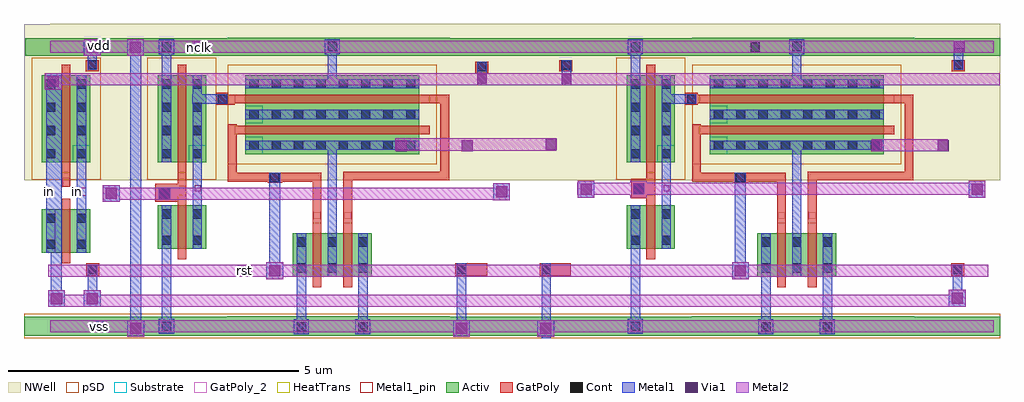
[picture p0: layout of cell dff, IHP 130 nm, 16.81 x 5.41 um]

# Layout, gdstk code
from math import pi, radians
import gdstk
lib = gdstk.Library(unit=1e-6, precision=5e-09)
def R(c, l, rs):  # rectangles x0, y0, x1, y1
    for r in rs: c.add(gdstk.rectangle(r[:2], r[2:], *l))
def A(c, l, x, y, w, h, nx, ny, dx, dy):  # array of equal rectangles
    R(c, l, [(x+i*dx, y+j*dy, x+i*dx+w, y+j*dy+h) for i in range(nx) for j in range(ny)])
Activ = (1, 0)
GatPoly = (5, 0)
GatPoly_2 = (5, 2)
Cont = (6, 0)
Metal1 = (8, 0)
Metal1_pin = (8, 2)
Metal2 = (10, 0)
pSD = (14, 0)
Via1 = (19, 0)
NWell = (31, 0)
Substrate = (40, 0)
HeatTrans = (51, 0)

nmos_5_2 = lib.new_cell('nmos$5$2')
R(nmos_5_2, Activ, [(0,0,0.3,0.3), (0,0,0.83,0.75), (0.53,0,0.83,0.3)])
R(nmos_5_2, GatPoly, [(0.34,-0.18,0.49,0.93)])
R(nmos_5_2, GatPoly_2, [(0.34,-0.18,0.49,0.93)])
R(nmos_5_2, Cont, [(0.07,0.07,0.23,0.23), (0.6,0.07,0.76,0.23), (0.07,0.52,0.23,0.68), (0.6,0.52,0.76,0.68)])
R(nmos_5_2, Metal1, [(0.07,0,0.23,0.75), (0.6,0,0.76,0.75)])
R(nmos_5_2, Metal1_pin, [(0.07,0,0.23,0.75), (0.6,0,0.76,0.75)])
R(nmos_5_2, HeatTrans, [(0.34,-0.18,0.49,0.93)])
nmos_5_2.add(gdstk.Label('nmos', (0.415,0.375), layer=63, texttype=0))
nmos_5_2.add(gdstk.Label('nmos', (0.415,0.375), layer=51, texttype=0))

pmos_5_1 = lib.new_cell('pmos$5$1')
R(pmos_5_1, Activ, [(0,0,0.3,0.3), (0,0,0.83,3), (0.53,0,0.83,0.3)])
R(pmos_5_1, GatPoly, [(0.34,-0.18,0.49,3.18), (0.34,-0.18,0.49,3.18)])
A(pmos_5_1, Cont, 0.07, 0.07, 0.16, 0.16, 1, 7, 0, 0.385)
A(pmos_5_1, Cont, 0.6, 0.07, 0.16, 0.16, 1, 7, 0, 0.385)
R(pmos_5_1, Cont, [(0.07,2.77,0.23,2.93), (0.6,2.77,0.76,2.93)])
R(pmos_5_1, Metal1, [(0.07,0,0.23,3), (0.07,0,0.23,3), (0.6,0,0.76,3), (0.6,0,0.76,3)])
R(pmos_5_1, pSD, [(-0.18,-0.3,1.01,3.3)])
R(pmos_5_1, NWell, [(-0.31,-0.31,1.14,3.31)])
R(pmos_5_1, Substrate, [(0.53,0,0.83,0.3)])
R(pmos_5_1, HeatTrans, [(0.34,-0.18,0.49,3.18)])
pmos_5_1.add(gdstk.Label('pmos', (0.415,1.5), layer=63, texttype=0))
pmos_5_1.add(gdstk.Label('pmos', (0.415,1.5), layer=51, texttype=0))

norgate_1 = lib.new_cell('norgate$1')
R(norgate_1, Activ, [(-1.48,-2.5,2.355,-2.17), (-1.47,2.325,2.355,2.625)])
R(norgate_1, GatPoly, [(-0.01,-0.56,0.14,0.15), (0.52,-0.56,0.67,0.17), (-1.47,0.15,0.14,0.3), (0.52,0.17,2.19,0.32), (2.19,0.17,2.34,1.645), (-1.47,0.3,-1.32,1.135), (-1.47,0.965,-1.35,1.135), (2.01,1.495,2.19,1.645)])
R(norgate_1, GatPoly_2, [(0.005,-0.49,0.13,-0.38), (0.535,-0.49,0.66,-0.38)])
R(norgate_1, Cont, [(-0.28,-2.43,-0.12,-2.27), (-0.28,-2.43,-0.12,-2.27), (0.78,-2.43,0.94,-2.27), (0.78,-2.43,0.94,-2.27), (0.255,2.395,0.415,2.555)])
R(norgate_1, Metal1, [(-0.335,-2.48,-0.075,-2.22), (0.725,-2.48,0.985,-2.22), (-0.28,-2.43,-0.12,-0.74), (0.78,-2.43,0.94,-0.74), (0.25,-0.74,0.41,0.695), (0.25,1.915,0.41,2.345), (0.2,2.345,0.46,2.605)])
R(norgate_1, Metal1_pin, [(-0.25,-2.39,-0.17,-2.3), (0.81,-2.39,0.89,-2.3), (0.255,2.395,0.415,2.555)])
R(norgate_1, pSD, [(-1.48,-2.54,2.355,-2.125)])
R(norgate_1, NWell, [(-1.47,0.315,2.355,2.865), (-1.47,2.295,2.355,2.865)])
norgate_1.add(gdstk.Reference(nmos_5_2, (1.01,-0.74), rotation=pi))
norgate_1.add(gdstk.Reference(nmos_5_2, (-0.35,-1.49)))
norgate_1.add(gdstk.Reference(pmos_5_1, (-1.17,1.985), rotation=3*pi/2))
norgate_1.add(gdstk.Reference(pmos_5_1, (-1.17,1.455), rotation=3*pi/2))
norgate_1.add(gdstk.Label('vdd', (0.325,2.5), layer=8, texttype=2))
norgate_1.add(gdstk.Label('vss', (-0.22,-2.335), layer=8, texttype=2))
norgate_1.add(gdstk.Label('vss', (0.84,-2.335), layer=8, texttype=2))
norgate_1.add(gdstk.Label('b', (0.07,-0.44), layer=5, texttype=2))
norgate_1.add(gdstk.Label('a', (0.6,-0.44), layer=5, texttype=2))

nmos_1 = lib.new_cell('nmos$1')
R(nmos_1, Activ, [(0,0,0.3,0.3), (0,0,0.83,0.75), (0.53,0,0.83,0.3)])
R(nmos_1, GatPoly, [(0.34,-0.18,0.49,0.93)])
R(nmos_1, GatPoly_2, [(0.34,-0.18,0.49,0.93)])
R(nmos_1, Cont, [(0.07,0.07,0.23,0.23), (0.6,0.07,0.76,0.23), (0.07,0.52,0.23,0.68), (0.6,0.52,0.76,0.68)])
R(nmos_1, Metal1, [(0.07,0,0.23,0.75), (0.6,0,0.76,0.75)])
R(nmos_1, Metal1_pin, [(0.07,0,0.23,0.75), (0.6,0,0.76,0.75)])
R(nmos_1, HeatTrans, [(0.34,-0.18,0.49,0.93)])
nmos_1.add(gdstk.Label('nmos', (0.415,0.375), layer=63, texttype=0))
nmos_1.add(gdstk.Label('nmos', (0.415,0.375), layer=51, texttype=0))

pmos_2 = lib.new_cell('pmos$2')
R(pmos_2, Activ, [(0,0,0.3,0.3), (0,0,0.83,1.5), (0.53,0,0.83,0.3)])
R(pmos_2, GatPoly, [(0.34,-0.18,0.49,1.68), (0.34,-0.18,0.49,1.68)])
A(pmos_2, Cont, 0.07, 0.07, 0.16, 0.16, 1, 4, 0, 0.4)
A(pmos_2, Cont, 0.6, 0.07, 0.16, 0.16, 1, 4, 0, 0.4)
R(pmos_2, Metal1, [(0.07,0,0.23,1.5), (0.07,0,0.23,1.5), (0.6,0,0.76,1.5), (0.6,0,0.76,1.5)])
R(pmos_2, pSD, [(-0.18,-0.3,1.01,1.8)])
R(pmos_2, NWell, [(-0.31,-0.31,1.14,1.81)])
R(pmos_2, Substrate, [(0.53,0,0.83,0.3)])
R(pmos_2, HeatTrans, [(0.34,-0.18,0.49,1.68)])
pmos_2.add(gdstk.Label('pmos', (0.415,0.75), layer=63, texttype=0))
pmos_2.add(gdstk.Label('pmos', (0.415,0.75), layer=51, texttype=0))

inverter_1 = lib.new_cell('inverter$1')
R(inverter_1, Activ, [(-0.925,-2.62,0.525,-2.29), (-0.925,2.205,0.525,2.505)])
R(inverter_1, GatPoly, [(-0.275,-0.195,-0.125,0.185)])
R(inverter_1, GatPoly_2, [(-0.25,-0.14,-0.155,-0.04)])
R(inverter_1, Cont, [(-0.545,-2.535,-0.385,-2.375), (-0.545,-2.535,-0.385,-2.375), (-0.545,2.275,-0.385,2.435)])
R(inverter_1, Metal1, [(-0.595,-2.585,-0.335,-2.325), (-0.545,-2.325,-0.385,-0.845), (-0.015,-0.375,0.145,0.365), (-0.545,1.865,-0.385,2.275), (-0.595,2.225,-0.335,2.485)])
R(inverter_1, Metal1_pin, [(0.02,-0.135,0.12,-0.03)])
R(inverter_1, pSD, [(-0.925,-2.66,0.525,-2.245)])
R(inverter_1, NWell, [(-0.925,2.175,0.525,2.745)])
inverter_1.add(gdstk.Reference(nmos_1, (-0.615,-1.125)))
inverter_1.add(gdstk.Reference(pmos_2, (-0.615,0.365)))
inverter_1.add(gdstk.Label('vss', (-0.475,-2.43), layer=8, texttype=2))
inverter_1.add(gdstk.Label('vdd', (-0.465,2.355), layer=8, texttype=2))
inverter_1.add(gdstk.Label('out', (0.06,-0.09), layer=8, texttype=2))
inverter_1.add(gdstk.Label('in', (-0.205,-0.09), layer=5, texttype=2))

nmos_5 = lib.new_cell('nmos$5')
R(nmos_5, Activ, [(0,0,0.3,0.3), (0,0,0.83,0.75), (0.53,0,0.83,0.3)])
R(nmos_5, GatPoly, [(0.34,-0.18,0.49,0.93)])
R(nmos_5, GatPoly_2, [(0.34,-0.18,0.49,0.93)])
R(nmos_5, Cont, [(0.07,0.07,0.23,0.23), (0.6,0.07,0.76,0.23), (0.07,0.52,0.23,0.68), (0.6,0.52,0.76,0.68)])
R(nmos_5, Metal1, [(0.07,0,0.23,0.75), (0.6,0,0.76,0.75)])
R(nmos_5, Metal1_pin, [(0.07,0,0.23,0.75), (0.6,0,0.76,0.75)])
R(nmos_5, HeatTrans, [(0.34,-0.18,0.49,0.93)])
nmos_5.add(gdstk.Label('nmos', (0.415,0.375), layer=63, texttype=0))
nmos_5.add(gdstk.Label('nmos', (0.415,0.375), layer=51, texttype=0))

pmos_3 = lib.new_cell('pmos$3')
R(pmos_3, Activ, [(0,0,0.3,0.3), (0,0,0.83,1.5), (0.53,0,0.83,0.3)])
R(pmos_3, GatPoly, [(0.34,-0.18,0.49,1.68), (0.34,-0.18,0.49,1.68)])
A(pmos_3, Cont, 0.07, 0.07, 0.16, 0.16, 1, 4, 0, 0.4)
A(pmos_3, Cont, 0.6, 0.07, 0.16, 0.16, 1, 4, 0, 0.4)
R(pmos_3, Metal1, [(0.07,0,0.23,1.5), (0.07,0,0.23,1.5), (0.6,0,0.76,1.5), (0.6,0,0.76,1.5)])
R(pmos_3, pSD, [(-0.18,-0.3,1.01,1.8)])
R(pmos_3, NWell, [(-0.31,-0.31,1.14,1.81)])
R(pmos_3, Substrate, [(0.53,0,0.83,0.3)])
R(pmos_3, HeatTrans, [(0.34,-0.18,0.49,1.68)])
pmos_3.add(gdstk.Label('pmos', (0.415,0.75), layer=63, texttype=0))
pmos_3.add(gdstk.Label('pmos', (0.415,0.75), layer=51, texttype=0))

nmos_5_3 = lib.new_cell('nmos$5$3')
R(nmos_5_3, Activ, [(0,0,0.3,0.3), (0,0,0.83,0.75), (0.53,0,0.83,0.3)])
R(nmos_5_3, GatPoly, [(0.34,-0.18,0.49,0.93)])
R(nmos_5_3, GatPoly_2, [(0.34,-0.18,0.49,0.93)])
R(nmos_5_3, Cont, [(0.07,0.07,0.23,0.23), (0.6,0.07,0.76,0.23), (0.07,0.52,0.23,0.68), (0.6,0.52,0.76,0.68)])
R(nmos_5_3, Metal1, [(0.07,0,0.23,0.75), (0.6,0,0.76,0.75)])
R(nmos_5_3, Metal1_pin, [(0.07,0,0.23,0.75), (0.6,0,0.76,0.75)])
R(nmos_5_3, HeatTrans, [(0.34,-0.18,0.49,0.93)])
nmos_5_3.add(gdstk.Label('nmos', (0.415,0.375), layer=63, texttype=0))
nmos_5_3.add(gdstk.Label('nmos', (0.415,0.375), layer=51, texttype=0))

pmos_4 = lib.new_cell('pmos$4')
R(pmos_4, Activ, [(0,0,0.3,0.3), (0,0,0.83,1.5), (0.53,0,0.83,0.3)])
R(pmos_4, GatPoly, [(0.34,-0.18,0.49,1.68), (0.34,-0.18,0.49,1.68)])
A(pmos_4, Cont, 0.07, 0.07, 0.16, 0.16, 1, 4, 0, 0.4)
A(pmos_4, Cont, 0.6, 0.07, 0.16, 0.16, 1, 4, 0, 0.4)
R(pmos_4, Metal1, [(0.07,0,0.23,1.5), (0.07,0,0.23,1.5), (0.6,0,0.76,1.5), (0.6,0,0.76,1.5)])
R(pmos_4, pSD, [(-0.18,-0.3,1.01,1.8)])
R(pmos_4, NWell, [(-0.31,-0.31,1.14,1.81)])
R(pmos_4, Substrate, [(0.53,0,0.83,0.3)])
R(pmos_4, HeatTrans, [(0.34,-0.18,0.49,1.68)])
pmos_4.add(gdstk.Label('pmos', (0.415,0.75), layer=63, texttype=0))
pmos_4.add(gdstk.Label('pmos', (0.415,0.75), layer=51, texttype=0))

nmos_5_4 = lib.new_cell('nmos$5$4')
R(nmos_5_4, Activ, [(0,0,0.3,0.3), (0,0,0.83,0.75), (0.53,0,0.83,0.3)])
R(nmos_5_4, GatPoly, [(0.34,-0.18,0.49,0.93)])
R(nmos_5_4, GatPoly_2, [(0.34,-0.18,0.49,0.93)])
R(nmos_5_4, Cont, [(0.07,0.07,0.23,0.23), (0.6,0.07,0.76,0.23), (0.07,0.52,0.23,0.68), (0.6,0.52,0.76,0.68)])
R(nmos_5_4, Metal1, [(0.07,0,0.23,0.75), (0.6,0,0.76,0.75)])
R(nmos_5_4, Metal1_pin, [(0.07,0,0.23,0.75), (0.6,0,0.76,0.75)])
R(nmos_5_4, HeatTrans, [(0.34,-0.18,0.49,0.93)])
nmos_5_4.add(gdstk.Label('nmos', (0.415,0.375), layer=63, texttype=0))
nmos_5_4.add(gdstk.Label('nmos', (0.415,0.375), layer=51, texttype=0))

pmos_5 = lib.new_cell('pmos$5')
R(pmos_5, Activ, [(0,0,0.3,0.3), (0,0,0.83,1.5), (0.53,0,0.83,0.3)])
R(pmos_5, GatPoly, [(0.34,-0.18,0.49,1.68), (0.34,-0.18,0.49,1.68)])
A(pmos_5, Cont, 0.07, 0.07, 0.16, 0.16, 1, 4, 0, 0.4)
A(pmos_5, Cont, 0.6, 0.07, 0.16, 0.16, 1, 4, 0, 0.4)
R(pmos_5, Metal1, [(0.07,0,0.23,1.5), (0.07,0,0.23,1.5), (0.6,0,0.76,1.5), (0.6,0,0.76,1.5)])
R(pmos_5, pSD, [(-0.18,-0.3,1.01,1.8)])
R(pmos_5, NWell, [(-0.31,-0.31,1.14,1.81)])
R(pmos_5, Substrate, [(0.53,0,0.83,0.3)])
R(pmos_5, HeatTrans, [(0.34,-0.18,0.49,1.68)])
pmos_5.add(gdstk.Label('pmos', (0.415,0.75), layer=63, texttype=0))
pmos_5.add(gdstk.Label('pmos', (0.415,0.75), layer=51, texttype=0))

nmos_5_5 = lib.new_cell('nmos$5$5')
R(nmos_5_5, Activ, [(0,0,0.3,0.3), (0,0,0.83,0.75), (0.53,0,0.83,0.3)])
R(nmos_5_5, GatPoly, [(0.34,-0.18,0.49,0.93)])
R(nmos_5_5, GatPoly_2, [(0.34,-0.18,0.49,0.93)])
R(nmos_5_5, Cont, [(0.07,0.07,0.23,0.23), (0.6,0.07,0.76,0.23), (0.07,0.52,0.23,0.68), (0.6,0.52,0.76,0.68)])
R(nmos_5_5, Metal1, [(0.07,0,0.23,0.75), (0.6,0,0.76,0.75)])
R(nmos_5_5, Metal1_pin, [(0.07,0,0.23,0.75), (0.6,0,0.76,0.75)])
R(nmos_5_5, HeatTrans, [(0.34,-0.18,0.49,0.93)])
nmos_5_5.add(gdstk.Label('nmos', (0.415,0.375), layer=63, texttype=0))
nmos_5_5.add(gdstk.Label('nmos', (0.415,0.375), layer=51, texttype=0))

pmos = lib.new_cell('pmos')
R(pmos, Activ, [(0,0,0.3,0.3), (0,0,0.83,1.5), (0.53,0,0.83,0.3)])
R(pmos, GatPoly, [(0.34,-0.18,0.49,1.68), (0.34,-0.18,0.49,1.68)])
A(pmos, Cont, 0.07, 0.07, 0.16, 0.16, 1, 4, 0, 0.4)
A(pmos, Cont, 0.6, 0.07, 0.16, 0.16, 1, 4, 0, 0.4)
R(pmos, Metal1, [(0.07,0,0.23,1.5), (0.07,0,0.23,1.5), (0.6,0,0.76,1.5), (0.6,0,0.76,1.5)])
R(pmos, pSD, [(-0.18,-0.3,1.01,1.8)])
R(pmos, NWell, [(-0.31,-0.31,1.14,1.81)])
R(pmos, Substrate, [(0.53,0,0.83,0.3)])
R(pmos, HeatTrans, [(0.34,-0.18,0.49,1.68)])
pmos.add(gdstk.Label('pmos', (0.415,0.75), layer=63, texttype=0))
pmos.add(gdstk.Label('pmos', (0.415,0.75), layer=51, texttype=0))

dff = lib.new_cell('dff')
R(dff, Activ, [(2.295,-2.62,3.745,-2.29), (2.295,-2.62,3.745,-2.29), (2.295,-2.62,3.745,-2.29), (2.295,-2.62,3.745,-2.29), (2.745,-2.62,19.105,-2.29), (2.315,2.205,3.745,2.505), (2.315,2.205,3.745,2.505), (2.315,2.205,3.745,2.505), (2.315,2.205,3.745,2.505), (2.745,2.205,19.105,2.505)])
R(dff, GatPoly, [(3.365,-1.585,3.59,-1.375), (9.72,-1.585,9.945,-1.375), (9.945,-1.585,10.27,-1.375), (10.12,-1.585,10.27,-1.375), (11.18,-1.585,11.405,-1.375), (11.405,-1.585,11.715,-1.375), (11.565,-1.585,11.715,-1.375), (18.265,-1.585,18.49,-1.375), (4.555,-0.315,4.94,0), (12.755,-0.255,13.015,0.085), (2.945,-0.055,3.095,0.185), (2.945,-0.055,3.095,0.185), (2.945,-0.055,3.095,0.185), (2.945,-0.055,3.095,0.185), (6.49,0.015,6.745,0.035), (14.51,0.015,14.765,0.035), (5.605,1.355,5.815,1.565), (5.815,1.355,5.925,1.53), (13.685,1.355,13.895,1.565), (13.685,1.38,13.925,1.53), (10.07,1.905,10.295,2.095), (3.355,1.935,3.58,2.125), (11.515,1.935,11.74,2.125), (18.275,1.935,18.5,2.125)])
R(dff, GatPoly_2, [(2.98,-0.43,3.09,-0.27), (2.98,-0.43,3.09,-0.27), (2.98,-0.43,3.09,-0.27), (2.98,-0.43,3.09,-0.27), (2.96,-0.055,3.08,0.105), (2.96,-0.055,3.08,0.105), (2.96,-0.055,3.08,0.105), (2.96,-0.055,3.08,0.105)])
R(dff, Cont, [(3.52,-2.54,3.68,-2.38), (3.52,-2.54,3.68,-2.38), (3.52,-2.54,3.68,-2.38), (3.52,-2.54,3.68,-2.38), (3.395,-1.565,3.555,-1.405), (9.75,-1.565,9.91,-1.405), (11.21,-1.565,11.37,-1.405), (18.295,-1.565,18.455,-1.405), (4.635,-0.245,4.795,-0.085), (12.805,-0.165,12.965,-0.005), (6.535,0.025,6.695,0.185), (14.555,0.025,14.715,0.185), (5.635,1.375,5.795,1.535), (13.715,1.375,13.875,1.535), (10.105,1.935,10.265,2.095), (3.39,1.965,3.55,2.125), (11.55,1.965,11.71,2.125), (18.31,1.965,18.47,2.125), (3.52,2.275,3.68,2.435), (3.52,2.275,3.68,2.435), (3.52,2.275,3.68,2.435), (3.52,2.275,3.68,2.435), (14.81,2.275,14.97,2.435)])
R(dff, Metal1, [(11.21,-2.66,11.37,-1.375), (4.075,-2.64,4.365,-2.35), (9.685,-2.64,9.975,-2.35), (11.135,-2.64,11.425,-2.35), (3.52,-2.54,3.68,-2.38), (3.52,-2.54,3.68,-2.38), (3.52,-2.54,3.68,-2.38), (3.52,-2.54,3.68,-2.38), (3.52,-2.54,3.68,-2.38), (3.52,-2.54,3.68,-2.38), (3.52,-2.54,3.68,-2.38), (3.52,-2.54,3.68,-2.38), (4.125,-2.35,4.315,2.33), (9.75,-2.35,9.91,-1.375), (2.71,-2.125,3,-1.835), (3.325,-2.125,3.615,-1.835), (18.225,-2.12,18.515,-1.83), (2.755,-1.835,2.945,1.615), (3.395,-1.835,3.555,-1.405), (18.295,-1.83,18.455,-1.405), (6.47,-1.645,6.76,-1.355), (14.49,-1.645,14.78,-1.355), (5.98,-1.605,6.21,-1.395), (5.98,-1.605,6.215,-1.395), (6.52,-1.595,6.71,0.185), (14.54,-1.595,14.73,0.185), (2.675,-0.445,2.835,-0.21), (2.675,-0.445,2.835,-0.21), (2.675,-0.445,2.835,-0.21), (2.675,-0.445,2.835,-0.21), (3.205,-0.445,3.365,-0.21), (3.205,-0.445,3.365,-0.21), (3.205,-0.445,3.365,-0.21), (3.205,-0.445,3.365,-0.21), (3.655,-0.315,3.945,-0.025), (10.375,-0.285,10.665,0.005), (4.635,-0.245,4.795,-0.085), (11.83,-0.24,12.12,0.05), (18.565,-0.24,18.855,0.05), (2.675,-0.21,2.835,0.365), (2.675,-0.21,2.835,0.365), (2.675,-0.21,2.835,0.365), (2.675,-0.21,2.835,0.365), (3.205,-0.21,3.365,0.365), (3.205,-0.21,3.365,0.365), (3.205,-0.21,3.365,0.365), (3.205,-0.21,3.365,0.365), (12.805,-0.165,12.965,-0.005), (5.195,1.375,5.795,1.535), (13.275,1.375,13.875,1.535), (2.655,1.615,2.945,1.905), (10.105,1.695,10.265,2.095), (11.56,1.695,11.72,2.125), (3.39,1.965,3.55,2.33), (18.31,1.965,18.47,2.33), (3.325,2.2,3.615,2.49), (4.07,2.2,4.36,2.49), (3.52,2.275,3.68,2.435), (3.52,2.275,3.68,2.435), (3.52,2.275,3.68,2.435), (3.52,2.275,3.68,2.435)])
R(dff, Metal1_pin, [(3.52,-2.54,3.68,-2.38), (3.52,-2.54,3.68,-2.38), (3.52,-2.54,3.68,-2.38), (3.52,-2.54,3.68,-2.38), (5.98,-1.605,6.21,-1.395), (2.69,-0.21,2.785,-0.07), (2.69,-0.21,2.785,-0.07), (2.69,-0.21,2.785,-0.07), (2.69,-0.21,2.785,-0.07), (3.125,-0.21,3.285,-0.065), (3.205,-0.21,3.365,-0.07), (3.205,-0.21,3.365,-0.07), (3.205,-0.21,3.365,-0.07), (3.205,-0.21,3.365,-0.07), (5.2,2.25,5.43,2.46), (3.52,2.275,3.68,2.435), (3.52,2.275,3.68,2.435), (3.52,2.275,3.68,2.435), (3.52,2.275,3.68,2.435)])
R(dff, Metal2, [(4.075,-2.64,4.365,-2.35), (9.685,-2.64,9.975,-2.35), (11.135,-2.64,11.425,-2.35), (2.745,-2.56,19,-2.35), (2.71,-2.125,3,-1.835), (3,-2.125,3.325,-1.915), (3.325,-2.125,3.615,-1.835), (3.615,-2.12,18.225,-1.915), (18.225,-2.12,18.515,-1.83), (6.47,-1.645,6.76,-1.355), (14.49,-1.645,14.78,-1.355), (2.71,-1.605,18.905,-1.395), (3.655,-0.315,3.945,-0.025), (10.375,-0.285,10.665,0.005), (3.655,-0.28,10.545,-0.07), (11.83,-0.24,12.12,0.05), (12.735,-0.24,13.025,0.05), (18.565,-0.24,18.855,0.05), (11.82,-0.195,18.705,0.015), (16.9,0.56,18.205,0.76), (8.685,0.57,11.46,0.78), (2.655,1.615,2.945,1.905), (2.945,1.695,19.1,1.905), (3.325,2.2,3.615,2.49), (4.07,2.2,4.36,2.49), (2.745,2.25,19,2.46)])
R(dff, pSD, [(2.295,-2.66,3.745,-2.245), (2.295,-2.66,3.745,-2.245), (2.295,-2.66,3.745,-2.245), (2.295,-2.66,3.745,-2.245), (2.745,-2.66,19.105,-2.245)])
R(dff, Via1, [(4.125,-2.59,4.315,-2.4), (9.735,-2.59,9.925,-2.4), (11.185,-2.59,11.375,-2.4), (2.76,-2.075,2.95,-1.885), (3.375,-2.075,3.565,-1.885), (18.275,-2.07,18.465,-1.88), (5.98,-1.605,6.215,-1.395), (6.52,-1.595,6.71,-1.405), (14.54,-1.595,14.73,-1.405), (3.705,-0.265,3.895,-0.075), (4.62,-0.26,4.81,-0.07), (10.43,-0.235,10.62,-0.045), (11.88,-0.19,12.07,0), (18.615,-0.19,18.805,0), (12.79,-0.18,12.98,0.01), (8.695,0.56,8.885,0.75), (9.835,0.56,10.025,0.75), (16.89,0.56,17.08,0.75), (18.03,0.56,18.22,0.75), (9.85,0.575,10.01,0.735), (11.28,0.58,11.47,0.77), (2.705,1.665,2.895,1.855), (10.105,1.72,10.265,1.88), (11.56,1.72,11.72,1.88), (3.375,2.25,3.565,2.44), (4.12,2.25,4.31,2.44), (18.31,2.25,18.5,2.44), (5.225,2.26,5.415,2.45)])
R(dff, NWell, [(2.745,0.055,19.105,2.75), (2.295,2.175,3.745,2.745), (2.295,2.175,3.745,2.745), (2.295,2.175,3.745,2.745), (2.295,2.175,3.745,2.745), (2.745,2.205,19.105,2.745)])
dff.add(gdstk.Reference(norgate_1, (7.275,-0.115)))
dff.add(gdstk.Reference(inverter_1, (5.215,0)))
dff.add(gdstk.Reference(norgate_1, (15.275,-0.115)))
dff.add(gdstk.Reference(nmos_5, (2.605,-1.195)))
dff.add(gdstk.Reference(pmos_3, (2.605,0.365)))
dff.add(gdstk.Reference(inverter_1, (13.29,0)))
dff.add(gdstk.Reference(nmos_5_3, (2.605,-1.195)))
dff.add(gdstk.Reference(pmos_4, (2.605,0.365)))
dff.add(gdstk.Reference(nmos_5_4, (2.605,-1.195)))
dff.add(gdstk.Reference(pmos_5, (2.605,0.365)))
dff.add(gdstk.Reference(nmos_5_5, (2.605,-1.195)))
dff.add(gdstk.Reference(pmos, (2.605,0.365)))
dff.add(gdstk.Label('in', (3.22,-0.135), layer=8, texttype=2))
dff.add(gdstk.Label('rst', (6.095,-1.5), layer=8, texttype=2))
dff.add(gdstk.Label('nclk', (5.315,2.34), layer=8, texttype=2))
dff.add(gdstk.Label('vdd', (3.59,2.38), layer=8, texttype=2))
dff.add(gdstk.Label('vss', (3.595,-2.46), layer=8, texttype=2))
dff.add(gdstk.Label('out', (3.285,-0.14), layer=8, texttype=2))
dff.add(gdstk.Label('in', (2.73,-0.14), layer=8, texttype=2))
dff.add(gdstk.Label('vdd', (3.59,2.38), layer=8, texttype=2))
dff.add(gdstk.Label('vss', (3.595,-2.46), layer=8, texttype=2))
dff.add(gdstk.Label('out', (3.285,-0.14), layer=8, texttype=2))
dff.add(gdstk.Label('in', (2.73,-0.14), layer=8, texttype=2))
dff.add(gdstk.Label('vdd', (3.59,2.38), layer=8, texttype=2))
dff.add(gdstk.Label('vss', (3.595,-2.46), layer=8, texttype=2))
dff.add(gdstk.Label('out', (3.285,-0.14), layer=8, texttype=2))
dff.add(gdstk.Label('in', (2.73,-0.14), layer=8, texttype=2))
dff.add(gdstk.Label('vdd', (3.59,2.38), layer=8, texttype=2))
dff.add(gdstk.Label('vss', (3.595,-2.46), layer=8, texttype=2))
dff.add(gdstk.Label('out', (3.285,-0.14), layer=8, texttype=2))
dff.add(gdstk.Label('in', (2.73,-0.14), layer=8, texttype=2))
dff.add(gdstk.Label('en', (3.015,-0.355), layer=5, texttype=2))
dff.add(gdstk.Label('noten', (3.025,0.02), layer=5, texttype=2))
dff.add(gdstk.Label('en', (3.015,-0.355), layer=5, texttype=2))
dff.add(gdstk.Label('noten', (3.025,0.02), layer=5, texttype=2))
dff.add(gdstk.Label('en', (3.015,-0.355), layer=5, texttype=2))
dff.add(gdstk.Label('noten', (3.025,0.02), layer=5, texttype=2))
dff.add(gdstk.Label('en', (3.015,-0.355), layer=5, texttype=2))
dff.add(gdstk.Label('noten', (3.025,0.02), layer=5, texttype=2))

lib.write_gds('dff.gds')
